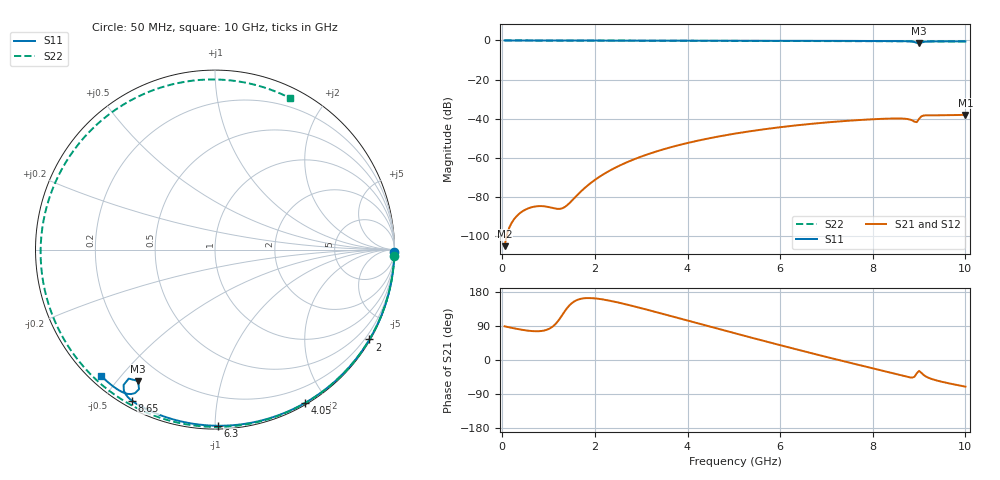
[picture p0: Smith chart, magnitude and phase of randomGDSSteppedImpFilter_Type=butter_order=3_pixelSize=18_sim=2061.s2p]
! freq	dB(S11)	phase(S11)	dB(S12)	phase(S12)
!  dB(S21)	phase(S21)	dB(S22)	phase(S22)
!S-par simulation data
#  GHz  S  DB  R 50
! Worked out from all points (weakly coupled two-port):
!   200 points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, 50 MHz to 10 GHz, reference 50 ohm
!   highest |S21| = -38.10 dB at 10 GHz (marker M1); lowest = -105.3 dB at 50 MHz (marker M2)
!   lowest |S11| = -1.4 dB at 9 GHz (marker M3), VSWR 12.16, Z = 5.45 - j28.4 ohm
!   |S11| at or under -10 dB: nowhere
!   |S22| runs from -0.5 to 0.0 dB; largest |S21 - S12| = 0
!   S11 on the Smith chart (normalised r, x): 50 MHz: open; 2 GHz: 0.03, -3.71; 4.05 GHz: 0.02, -1.75; 6.3 GHz: 0.02, -1.02; 8.65 GHz: 0.03, -0.59; 10 GHz: 0.03, -0.44
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0.05  -0.00 -0.8  -105.34 88.9  -105.34 88.9  -0.00 -1.9
0.75  -0.01 -11.4  -84.90 75.9  -84.90 75.9  -0.04 -28.2
1.55  -0.03 -23.5  -80.85 154.3  -80.85 154.3  -0.07 -57.0
1.6  -0.03 -24.3  -79.62 157.6  -79.62 157.6  -0.07 -58.8
1.75  -0.03 -26.5  -76.17 162.6  -76.17 162.6  -0.08 -63.9
2  -0.04 -30.2  -71.41 162.6  -71.41 162.6  -0.09 -72.4
2.6  -0.05 -39.0  -63.33 148.9  -63.33 148.9  -0.11 -91.7
3.4  -0.07 -50.4  -56.31 123.9  -56.31 123.9  -0.14 -115.6
4.05  -0.08 -59.5  -52.23 102.5  -52.23 102.5  -0.16 -133.7
5.05  -0.11 -73.0  -47.61 69.6  -47.61 69.6  -0.21 -160.1
5.65  -0.13 -80.8  -45.49 50.3  -45.49 50.3  -0.24 -175.5
6.3  -0.16 -89.1  -43.61 29.7  -43.61 29.7  -0.28 167.8
6.7  -0.18 -94.1  -42.63 17.2  -42.63 17.2  -0.31 157.5
7.5  -0.23 -103.9  -41.07 -7.1  -41.07 -7.1  -0.36 136.3
8.35  -0.29 -114.5  -40.01 -32.2  -40.01 -32.2  -0.42 112.8
8.65  -0.35 -118.8  -40.01 -41.4  -40.01 -41.4  -0.44 104.2
8.85  -0.58 -122.9  -40.91 -46.5  -40.91 -46.5  -0.45 98.3
8.95  -1.26 -123.8  -41.84 -35.0  -41.84 -35.0  -0.45 95.4
9  -1.43 -120.3  -40.13 -28.7  -40.13 -28.7  -0.46 93.9
9.05  -1.06 -118.6  -38.82 -34.0  -38.82 -34.0  -0.46 92.4
9.2  -0.54 -121.1  -38.33 -46.8  -38.33 -46.8  -0.47 87.9
10  -0.47 -132.0  -38.10 -70.3  -38.10 -70.3  -0.52 63.5
